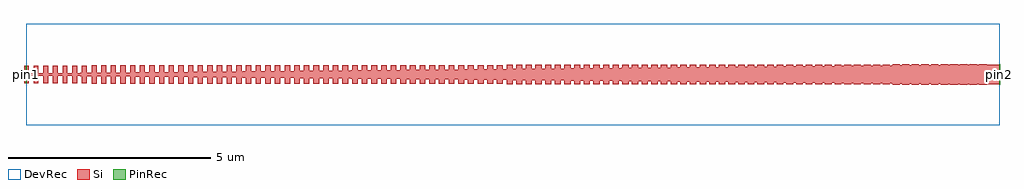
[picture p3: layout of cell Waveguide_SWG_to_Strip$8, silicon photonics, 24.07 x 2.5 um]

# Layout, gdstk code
import gdstk
lib = gdstk.Library(unit=1e-6, precision=1e-09)
def R(c, l, rs):  # rectangles x0, y0, x1, y1
    for r in rs: c.add(gdstk.rectangle(r[:2], r[2:], *l))
def P(c, l, *ps):  # polygons
    for p in ps: c.add(gdstk.Polygon(p, *l))
Si = (1, 0)
PinRec = (1, 10)
DevRec = (68, 0)

waveguide_swg_to_strip_8 = lib.new_cell('Waveguide_SWG_to_Strip$8')
R(waveguide_swg_to_strip_8, Si, [(23.026,-0.249,23.203,0.249), (23.264,-0.249,23.441,0.249), (23.502,-0.249,23.68,0.249), (22.312,-0.248,22.487,0.248), (22.55,-0.248,22.726,0.248), (22.788,-0.248,22.964,0.248), (21.36,-0.247,21.533,0.247), (21.598,-0.247,21.771,0.247), (21.836,-0.247,22.01,0.247), (22.074,-0.247,22.248,0.247), (20.646,-0.246,20.817,0.246), (20.884,-0.246,21.055,0.246), (21.122,-0.246,21.294,0.246), (19.932,-0.245,20.101,0.245), (20.17,-0.245,20.34,0.245), (20.408,-0.245,20.578,0.245), (18.98,-0.244,19.147,0.244), (19.218,-0.244,19.385,0.244), (19.456,-0.244,19.624,0.244), (19.694,-0.244,19.862,0.244), (18.266,-0.243,18.431,0.243), (18.504,-0.243,18.669,0.243), (18.742,-0.243,18.908,0.243), (17.552,-0.242,17.715,0.242), (17.79,-0.242,17.954,0.242), (18.028,-0.242,18.192,0.242), (16.6,-0.241,16.761,0.241), (16.838,-0.241,16.999,0.241), (17.076,-0.241,17.238,0.241), (17.314,-0.241,17.476,0.241), (15.886,-0.24,16.045,0.24), (16.124,-0.24,16.283,0.24), (16.362,-0.24,16.522,0.24), (15.172,-0.239,15.329,0.239), (15.41,-0.239,15.568,0.239), (15.648,-0.239,15.806,0.239), (14.22,-0.238,14.375,0.238), (14.458,-0.238,14.613,0.238), (14.696,-0.238,14.852,0.238), (14.934,-0.238,15.09,0.238), (13.506,-0.237,13.659,0.237), (13.744,-0.237,13.898,0.237), (13.982,-0.237,14.136,0.237), (12.792,-0.236,12.943,0.236), (13.03,-0.236,13.182,0.236), (13.268,-0.236,13.42,0.236), (11.84,-0.235,11.989,0.235), (12.078,-0.235,12.227,0.235), (12.316,-0.235,12.466,0.235), (12.554,-0.235,12.705,0.235), (11.126,-0.234,11.273,0.234), (11.364,-0.234,11.512,0.234), (11.602,-0.234,11.75,0.234), (10.412,-0.233,10.557,0.233), (10.65,-0.233,10.796,0.233), (10.888,-0.233,11.034,0.233), (9.46,-0.232,9.603,0.232), (9.698,-0.232,9.841,0.232), (9.936,-0.232,10.08,0.232), (10.174,-0.232,10.319,0.232), (8.746,-0.231,8.887,0.231), (8.984,-0.231,9.126,0.231), (9.222,-0.231,9.364,0.231), (8.032,-0.23,8.171,0.23), (8.27,-0.23,8.41,0.23), (8.508,-0.23,8.648,0.23), (7.08,-0.229,7.217,0.229), (7.318,-0.229,7.455,0.229), (7.556,-0.229,7.694,0.229), (7.794,-0.229,7.933,0.229), (6.366,-0.228,6.501,0.228), (6.604,-0.228,6.74,0.228), (6.842,-0.228,6.978,0.228), (5.652,-0.227,5.785,0.227), (5.89,-0.227,6.024,0.227), (6.128,-0.227,6.262,0.227), (4.7,-0.226,4.831,0.226), (4.938,-0.226,5.069,0.226), (5.176,-0.226,5.308,0.226), (5.414,-0.226,5.547,0.226), (3.986,-0.225,4.115,0.225), (4.224,-0.225,4.354,0.225), (4.462,-0.225,4.592,0.225), (3.272,-0.224,3.399,0.224), (3.51,-0.224,3.638,0.224), (3.748,-0.224,3.877,0.224), (2.32,-0.223,2.445,0.223), (2.558,-0.223,2.684,0.223), (2.796,-0.223,2.922,0.223), (3.034,-0.223,3.161,0.223), (1.606,-0.222,1.729,0.222), (1.844,-0.222,1.968,0.222), (2.082,-0.222,2.206,0.222), (0.892,-0.221,1.013,0.221), (1.13,-0.221,1.252,0.221), (1.368,-0.221,1.491,0.221), (-0.059,-0.22,0.059,0.22), (0.178,-0.22,0.298,0.22), (0.416,-0.22,0.536,0.22), (0.654,-0.22,0.775,0.22)])
P(waveguide_swg_to_strip_8, Si, [(24,-0.25),(0,-0.03),(0,0.03),(24,0.25)])
R(waveguide_swg_to_strip_8, DevRec, [(0,-1.25,24,1.25)])
waveguide_swg_to_strip_8.add(gdstk.FlexPath([(0.01,0),(-0.01,0)], 0.44, ends="flush", simple_path=True, layer=1, datatype=10))  # PinRec
waveguide_swg_to_strip_8.add(gdstk.FlexPath([(23.99,0),(24.01,0)], 0.5, ends="flush", simple_path=True, layer=1, datatype=10))  # PinRec
waveguide_swg_to_strip_8.add(gdstk.Label('pin1', (0,0), layer=1, texttype=10))
waveguide_swg_to_strip_8.add(gdstk.Label('pin2', (24,0), layer=1, texttype=10))

lib.write_gds('Waveguide_SWG_to_Strip_8.gds')
